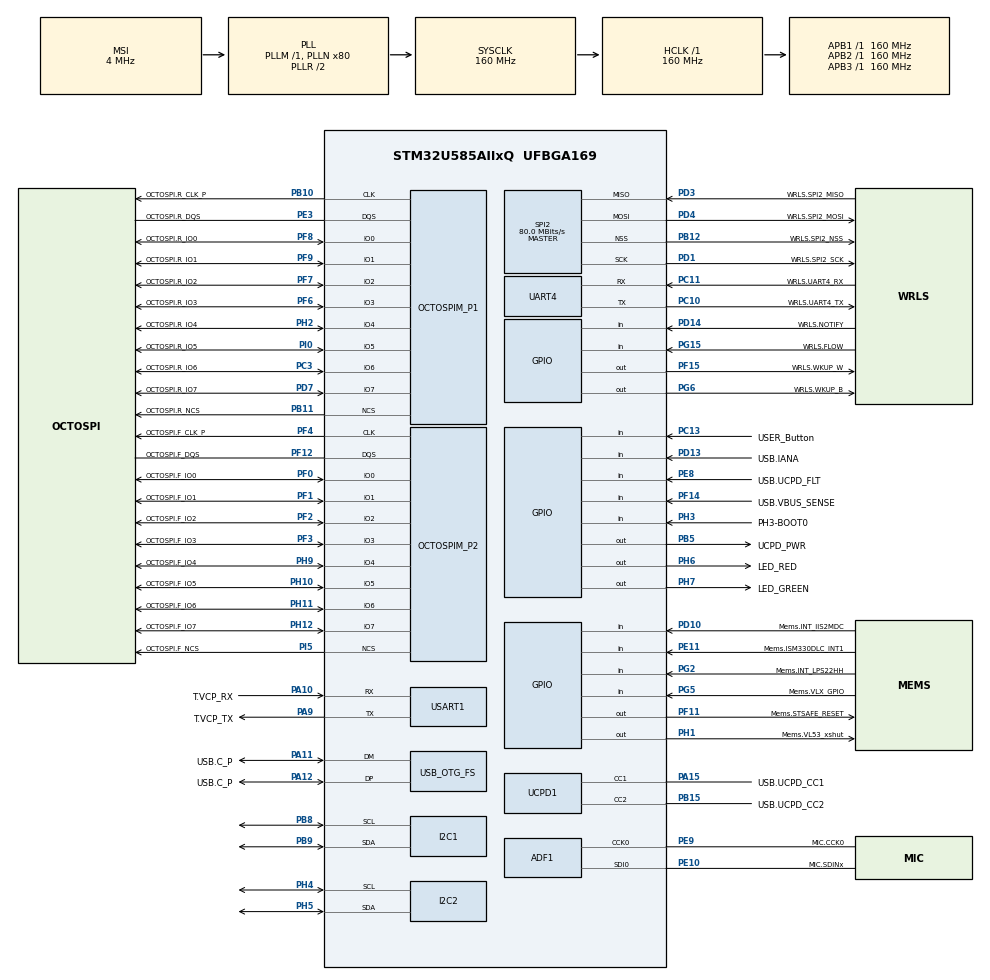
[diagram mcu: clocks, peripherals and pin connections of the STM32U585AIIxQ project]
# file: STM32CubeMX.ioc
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CORTEX_M33_NS.userName=CORTEX_M33
I2C1.Timing=0x30909DEC
I2C2.Timing=0x30909DEC
Mcu.Family=STM32U5
Mcu.Name=STM32U585AIIxQ
Mcu.Package=UFBGA169
NVIC.OTG_FS_IRQn=true\:0\:0\:false\:false\:true\:true\:true\:true
NVIC.PriorityGroup=NVIC_PRIORITYGROUP_4
NVIC.USART1_IRQn=true\:0\:0\:false\:false\:true\:true\:true\:true
OCTOSPI1.ChipSelectBoundary=10
OCTOSPI1.ClockPrescaler=2
OCTOSPI1.DelayBlockBypass=HAL_OSPI_DELAY_BLOCK_USED
OCTOSPI1.DelayHoldQuarterCycle=HAL_OSPI_DHQC_ENABLE
OCTOSPI1.DeviceSize=23
OCTOSPI1.MemoryType=HAL_OSPI_MEMTYPE_APMEMORY
OCTOSPI1.Refresh=100
OCTOSPI2.ChipSelectBoundary=0
OCTOSPI2.ChipSelectHighTime=2
OCTOSPI2.ClockPrescaler=4
OCTOSPI2.DelayBlockBypass=HAL_OSPI_DELAY_BLOCK_USED
OCTOSPI2.DelayHoldQuarterCycle=HAL_OSPI_DHQC_ENABLE
OCTOSPI2.DeviceSize=26
OCTOSPI2.FifoThreshold=4
OCTOSPI2.MemoryType=HAL_OSPI_MEMTYPE_MACRONIX
PA10.GPIO_Label=T.VCP_RX
PA10.Mode=Asynchronous
PA10.Signal=USART1_RX
PA11.GPIO_Label=USB.C_P
PA11.Mode=Device_Only
PA11.Signal=USB_OTG_FS_DM
PA12.GPIO_Label=USB.C_P
PA12.Mode=Device_Only
PA12.Signal=USB_OTG_FS_DP
PA13\ (JTMS/SWDIO).GPIO_Label=T.SWDIO
PA13\ (JTMS/SWDIO).Mode=Trace_Asynchronous_SW
PA13\ (JTMS/SWDIO).Signal=DEBUG_JTMS-SWDIO
PA14\ (JTCK/SWCLK).GPIO_Label=T.SWCLK
PA14\ (JTCK/SWCLK).Mode=Trace_Asynchronous_SW
PA14\ (JTCK/SWCLK).Signal=DEBUG_JTCK-SWCLK
PA15\ (JTDI).GPIO_Label=USB.UCPD_CC1
PA15\ (JTDI).Mode=Dual_Role_AllSignals
PA15\ (JTDI).Signal=UCPD1_CC1
PA9.GPIO_Label=T.VCP_TX
PA9.Mode=Asynchronous
PA9.Signal=USART1_TX
PB1.GPIO_Label=MIC.SDIN0
PB1.Signal=MDF1_SDI0
PB10.GPIO_Label=OCTOSPI.R_CLK_P
PB10.Mode=O1_P1_CLK
PB10.Signal=OCTOSPIM_P1_CLK
PB11.GPIO_Label=OCTOSPI.R_NCS
PB11.Mode=OCTOSPI1_Port1_NCS
PB11.Signal=OCTOSPIM_P1_NCS
PB12.GPIO_Label=WRLS.SPI2_NSS
PB12.Mode=NSS_Signal_Hard_Output
PB12.Signal=SPI2_NSS
PB15.GPIO_Label=USB.UCPD_CC2
PB15.Mode=Dual_Role_AllSignals
PB15.Signal=UCPD1_CC2
PB3\ (JTDO/TRACESWO).GPIO_Label=T.SWO
PB3\ (JTDO/TRACESWO).Mode=Trace_Asynchronous_SW
PB3\ (JTDO/TRACESWO).Signal=DEBUG_JTDO-SWO
PB5.GPIO_Label=UCPD_PWR
PB5.Signal=GPIO_Output
PB8.Mode=I2C
PB8.Signal=I2C1_SCL
PB9.Mode=I2C
PB9.Signal=I2C1_SDA
PC10.GPIO_Label=WRLS.UART4_TX
PC10.Mode=Asynchronous
PC10.Signal=UART4_TX
PC11.GPIO_Label=WRLS.UART4_RX
PC11.Mode=Asynchronous
PC11.Signal=UART4_RX
PC13.GPIO_Label=USER_Button
PC13.Signal=GPIO_Input
PC14-OSC32_IN\ (PC14).GPIO_Label=PC14-OSC32_IN
PC14-OSC32_IN\ (PC14).Mode=LSE-External-Oscillator
PC14-OSC32_IN\ (PC14).Signal=RCC_OSC32_IN
PC15-OSC32_OUT\ (PC15).GPIO_Label=PC15-OSC32_OUT
PC15-OSC32_OUT\ (PC15).Mode=LSE-External-Oscillator
PC15-OSC32_OUT\ (PC15).Signal=RCC_OSC32_OUT
PC3.GPIO_Label=OCTOSPI.R_IO6
PC3.Mode=OCTOSPI1_IOH_Port1H
PC3.Signal=OCTOSPIM_P1_IO6
PD1.GPIO_Label=WRLS.SPI2_SCK
PD1.Mode=Full_Duplex_Master
PD1.Signal=SPI2_SCK
PD10.GPIO_Label=Mems.INT_IIS2MDC
PD10.Signal=GPIO_Input
PD13.GPIO_Label=USB.IANA
PD13.Signal=GPIO_Input
PD14.GPIO_Label=WRLS.NOTIFY
PD14.Signal=GPIO_Input
PD3.GPIO_Label=WRLS.SPI2_MISO
PD3.Mode=Full_Duplex_Master
PD3.Signal=SPI2_MISO
PD4.GPIO_Label=WRLS.SPI2_MOSI
PD4.Mode=Full_Duplex_Master
PD4.Signal=SPI2_MOSI
PD7.GPIO_Label=OCTOSPI.R_IO7
PD7.Mode=OCTOSPI1_IOH_Port1H
PD7.Signal=OCTOSPIM_P1_IO7
PE10.GPIO_Label=MIC.SDINx
PE10.Mode=MOD_ADF_CCK
PE10.Signal=ADF1_SDI0
PE11.GPIO_Label=Mems.ISM330DLC_INT1
PE11.Signal=GPIO_Input
PE3.GPIO_Label=OCTOSPI.R_DQS
PE3.Mode=OCTOSPI1_Port1_DQS
PE3.Signal=OCTOSPIM_P1_DQS
PE8.GPIO_Label=USB.UCPD_FLT
PE8.Signal=GPIO_Input
PE9.GPIO_Label=MIC.CCK0
PE9.Mode=MOD_MDF_CCK0
PE9.Signal=ADF1_CCK0
PF0.GPIO_Label=OCTOSPI.F_IO0
PF0.Mode=OCTOSPI2_IOL_Port2L
PF0.Signal=OCTOSPIM_P2_IO0
PF1.GPIO_Label=OCTOSPI.F_IO1
PF1.Mode=OCTOSPI2_IOL_Port2L
PF1.Signal=OCTOSPIM_P2_IO1
PF10.GPIO_Label=MIC.CCK1
PF10.Signal=MDF1_CCK1
PF11.GPIO_Label=Mems.STSAFE_RESET
PF11.Signal=GPIO_Output
PF12.GPIO_Label=OCTOSPI.F_DQS
PF12.Mode=OCTOSPI2_Port2_DQS
PF12.Signal=OCTOSPIM_P2_DQS
PF14.GPIO_Label=USB.VBUS_SENSE
PF14.Signal=GPIO_Input
PF15.GPIO_Label=WRLS.WKUP_W
PF15.Signal=GPIO_Output
PF2.GPIO_Label=OCTOSPI.F_IO2
PF2.Mode=OCTOSPI2_IOL_Port2L
PF2.Signal=OCTOSPIM_P2_IO2
PF3.GPIO_Label=OCTOSPI.F_IO3
PF3.Mode=OCTOSPI2_IOL_Port2L
PF3.Signal=OCTOSPIM_P2_IO3
PF4.GPIO_Label=OCTOSPI.F_CLK_P
PF4.Mode=O2_P2_CLK
PF4.Signal=OCTOSPIM_P2_CLK
PF6.GPIO_Label=OCTOSPI.R_IO3
PF6.Mode=OCTOSPI1_IOL_Port1L
PF6.Signal=OCTOSPIM_P1_IO3
PF7.GPIO_Label=OCTOSPI.R_IO2
PF7.Mode=OCTOSPI1_IOL_Port1L
PF7.Signal=OCTOSPIM_P1_IO2
PF8.GPIO_Label=OCTOSPI.R_IO0
PF8.Mode=OCTOSPI1_IOL_Port1L
PF8.Signal=OCTOSPIM_P1_IO0
PF9.GPIO_Label=OCTOSPI.R_IO1
PF9.Mode=OCTOSPI1_IOL_Port1L
PF9.Signal=OCTOSPIM_P1_IO1
PG15.GPIO_Label=WRLS.FLOW
PG15.Signal=GPIO_Input
PG2.GPIO_Label=Mems.INT_LPS22HH
PG2.Signal=GPIO_Input
PG5.GPIO_Label=Mems.VLX_GPIO
PG5.Signal=GPIO_Input
PG6.GPIO_Label=WRLS.WKUP_B
PG6.Signal=GPIO_Output
PH1-OSC_OUT\ (PH1).GPIO_Label=Mems.VL53_xshut
PH1-OSC_OUT\ (PH1).Signal=GPIO_Output
PH10.GPIO_Label=OCTOSPI.F_IO5
PH10.Mode=OCTOSPI2_IOH_Port2H
PH10.Signal=OCTOSPIM_P2_IO5
PH11.GPIO_Label=OCTOSPI.F_IO6
PH11.Mode=OCTOSPI2_IOH_Port2H
PH11.Signal=OCTOSPIM_P2_IO6
PH12.GPIO_Label=OCTOSPI.F_IO7
PH12.Mode=OCTOSPI2_IOH_Port2H
PH12.Signal=OCTOSPIM_P2_IO7
PH2.GPIO_Label=OCTOSPI.R_IO4
PH2.Mode=OCTOSPI1_IOH_Port1H
PH2.Signal=OCTOSPIM_P1_IO4
PH3-BOOT0.GPIO_Label=PH3-BOOT0
PH3-BOOT0.Signal=GPIO_Input
PH4.Mode=I2C
PH4.Signal=I2C2_SCL
PH5.Mode=I2C
PH5.Signal=I2C2_SDA
PH6.GPIO_Label=LED_RED
PH6.Signal=GPIO_Output
PH7.GPIO_Label=LED_GREEN
PH7.Signal=GPIO_Output
PH9.GPIO_Label=OCTOSPI.F_IO4
PH9.Mode=OCTOSPI2_IOH_Port2H
PH9.Signal=OCTOSPIM_P2_IO4
PI0.GPIO_Label=OCTOSPI.R_IO5
PI0.Mode=OCTOSPI1_IOH_Port1H
PI0.Signal=OCTOSPIM_P1_IO5
PI5.GPIO_Label=OCTOSPI.F_NCS
PI5.Mode=OCTOSPI2_Port2_NCS
PI5.Signal=OCTOSPIM_P2_NCS
PWR.PowerMode=PWR_SMPS_SUPPLY
ProjectManager.HeapSize=0x400
ProjectManager.StackSize=0x400
ProjectManager.TargetToolchain=MDK-ARM V5.32
RCC.ADCFreq_Value=16000000
RCC.AHBFreq_Value=160000000
RCC.APB1Freq_Value=160000000
RCC.APB1TimFreq_Value=160000000
RCC.APB2Freq_Value=160000000
RCC.APB2TimFreq_Value=160000000
RCC.APB3Freq_Value=160000000
RCC.CortexFreq_Value=160000000
RCC.DACCLockSelectionVirtual=RCC_DAC1CLKSOURCE_LSI
RCC.EPOD_VALUE=4000000
RCC.HCLKFreq_Value=160000000
RCC.HSE_VALUE=16000000
RCC.HSI48_VALUE=48000000
RCC.HSI_VALUE=16000000
RCC.LSIDIV_VALUE=32000
RCC.MSI_VALUE=4000000
RCC.PLLN=80
RCC.SYSCLKFreq_VALUE=160000000
RCC.SYSCLKSource=RCC_SYSCLKSOURCE_PLLCLK
RCC.USBFreq_Value=48000000
RCC.VCOOutputFreq_Value=320000000
SPI2.CalculateBaudRate=80.0 MBits/s
SPI2.Direction=SPI_DIRECTION_2LINES
SPI2.Mode=SPI_MODE_MASTER
SPI2.VirtualNSS=VM_NSSHARD
SPI2.VirtualType=VM_MASTER
USART1.VirtualMode-Asynchronous=VM_ASYNC
USB_OTG_FS.VirtualMode=Device_Only
VP_ICACHE_VS_ICACHE.Mode=DirectMappedCache
VP_LPBAMQUEUE_VS_QUEUE.Mode=QUEUEMODE
VP_LPBAM_VS_SIG1.Mode=SmartRun
VP_LPBAM_VS_SIG4.Mode=LPDMA1
VP_OCTOSPI1_VS_octo.Mode=octo_mode
VP_OCTOSPI2_VS_octo.Mode=octo_mode
VP_PWR_VS_DBSignals.Mode=DisableDeadBatterySignals
VP_PWR_VS_LPOM.Mode=PowerOptimisation
VP_PWR_VS_SECSignals.Mode=Security/Privilege
board=B-U585I-IOT02A

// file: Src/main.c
/* USER CODE BEGIN Header */
/**
  ******************************************************************************
  * @file           : main.c
  * @brief          : Main program body
  ******************************************************************************
  * @attention
  *
  * Copyright (c) 2024 STMicroelectronics.
  * All rights reserved.
  *
  * This software is licensed under terms that can be found in the LICENSE file
  * in the root directory of this software component.
  * If no LICENSE file comes with this software, it is provided AS-IS.
  *
  ******************************************************************************
  */
/* USER CODE END Header */
#include "main.h"

/* USER CODE BEGIN Includes */
#include "cmsis_os2.h"
#include "cmsis_vio.h"
/* USER CODE END Includes */

MDF_HandleTypeDef AdfHandle0;
MDF_FilterConfigTypeDef AdfFilterConfig0;

I2C_HandleTypeDef hi2c1;
I2C_HandleTypeDef hi2c2;

OSPI_HandleTypeDef hospi1;
OSPI_HandleTypeDef hospi2;

SPI_HandleTypeDef hspi2;

UART_HandleTypeDef huart4;
UART_HandleTypeDef huart1;

PCD_HandleTypeDef hpcd_USB_OTG_FS;

void SystemClock_Config(void);
static void SystemPower_Config(void);
static void MX_GPIO_Init(void);
static void MX_ADF1_Init(void);
static void MX_I2C1_Init(void);
static void MX_I2C2_Init(void);
static void MX_ICACHE_Init(void);
static void MX_OCTOSPI1_Init(void);
static void MX_OCTOSPI2_Init(void);
static void MX_SPI2_Init(void);
static void MX_UART4_Init(void);
static void MX_USART1_UART_Init(void);
static void MX_UCPD1_Init(void);
static void MX_USB_OTG_FS_PCD_Init(void);

/* USER CODE BEGIN 0 */

/**
  * Override default HAL_GetTick function
  */
uint32_t HAL_GetTick (void) {
  static uint32_t ticks = 0U;
         uint32_t i;

  if (osKernelGetState () == osKernelRunning) {
    return ((uint32_t)osKernelGetTickCount());
  }

  /* If Kernel is not running wait approximately 1 ms then increment
     and return auxiliary tick counter value */
  for (i = (SystemCoreClock >> 14U); i > 0U; i--) {
    __NOP(); __NOP(); __NOP(); __NOP(); __NOP(); __NOP();
    __NOP(); __NOP(); __NOP(); __NOP(); __NOP(); __NOP();
  }
  return ++ticks;
}

/**
  * Override default HAL_InitTick function
  */
HAL_StatusTypeDef HAL_InitTick(uint32_t TickPriority) {

  UNUSED(TickPriority);

  return HAL_OK;
}

/* USER CODE END 0 */

int main(void)
{

  /* MCU Configuration--------------------------------------------------------*/

  /* Reset of all peripherals, Initializes the Flash interface and the Systick. */
  HAL_Init();

  /* Configure the system clock */
  SystemClock_Config();

  /* Configure the System Power */
  SystemPower_Config();

  /* USER CODE BEGIN SysInit */
  SystemCoreClockUpdate();
  /* USER CODE END SysInit */

  /* Initialize all configured peripherals */
  MX_GPIO_Init();
  MX_ADF1_Init();
  MX_I2C1_Init();
  MX_I2C2_Init();
  MX_ICACHE_Init();
  MX_OCTOSPI1_Init();
  MX_OCTOSPI2_Init();
  MX_SPI2_Init();
  MX_UART4_Init();
  MX_USART1_UART_Init();
  MX_UCPD1_Init();
  MX_USB_OTG_FS_PCD_Init();
  /* USER CODE BEGIN 2 */

  stdio_init();                                 /* Initialize STDIO */

  vioInit();                                    /* Initialize Virtual I/O */

  osKernelInitialize();                         /* Initialize CMSIS-RTOS2 */
  app_initialize();                             /* Initialize application */
  osKernelStart();                              /* Start thread execution */

  /* USER CODE END 2 */

  /* Infinite loop */
  while (1)
  {

  }
}

void SystemClock_Config(void)
{
  RCC_OscInitTypeDef RCC_OscInitStruct = {0};
  RCC_ClkInitTypeDef RCC_ClkInitStruct = {0};

  /** Configure the main internal regulator output voltage
  */
  if (HAL_PWREx_ControlVoltageScaling(PWR_REGULATOR_VOLTAGE_SCALE1) != HAL_OK)
  {
    Error_Handler();
  }

  /** Initializes the CPU, AHB and APB buses clocks
  */
  RCC_OscInitStruct.OscillatorType = RCC_OSCILLATORTYPE_HSI48|RCC_OSCILLATORTYPE_HSI
                              |RCC_OSCILLATORTYPE_MSI;
  RCC_OscInitStruct.HSIState = RCC_HSI_ON;
  RCC_OscInitStruct.HSI48State = RCC_HSI48_ON;
  RCC_OscInitStruct.HSICalibrationValue = RCC_HSICALIBRATION_DEFAULT;
  RCC_OscInitStruct.MSIState = RCC_MSI_ON;
  RCC_OscInitStruct.MSICalibrationValue = RCC_MSICALIBRATION_DEFAULT;
  RCC_OscInitStruct.MSIClockRange = RCC_MSIRANGE_4;
  RCC_OscInitStruct.PLL.PLLState = RCC_PLL_ON;
  RCC_OscInitStruct.PLL.PLLSource = RCC_PLLSOURCE_MSI;
  RCC_OscInitStruct.PLL.PLLMBOOST = RCC_PLLMBOOST_DIV1;
  RCC_OscInitStruct.PLL.PLLM = 1;
  RCC_OscInitStruct.PLL.PLLN = 80;
  RCC_OscInitStruct.PLL.PLLP = 2;
  RCC_OscInitStruct.PLL.PLLQ = 2;
  RCC_OscInitStruct.PLL.PLLR = 2;
  RCC_OscInitStruct.PLL.PLLRGE = RCC_PLLVCIRANGE_0;
  RCC_OscInitStruct.PLL.PLLFRACN = 0;
  if (HAL_RCC_OscConfig(&RCC_OscInitStruct) != HAL_OK)
  {
    Error_Handler();
  }

  /** Initializes the CPU, AHB and APB buses clocks
  */
  RCC_ClkInitStruct.ClockType = RCC_CLOCKTYPE_HCLK|RCC_CLOCKTYPE_SYSCLK
                              |RCC_CLOCKTYPE_PCLK1|RCC_CLOCKTYPE_PCLK2
                              |RCC_CLOCKTYPE_PCLK3;
  RCC_ClkInitStruct.SYSCLKSource = RCC_SYSCLKSOURCE_PLLCLK;
  RCC_ClkInitStruct.AHBCLKDivider = RCC_SYSCLK_DIV1;
  RCC_ClkInitStruct.APB1CLKDivider = RCC_HCLK_DIV1;
  RCC_ClkInitStruct.APB2CLKDivider = RCC_HCLK_DIV1;
  RCC_ClkInitStruct.APB3CLKDivider = RCC_HCLK_DIV1;

  if (HAL_RCC_ClockConfig(&RCC_ClkInitStruct, FLASH_LATENCY_4) != HAL_OK)
  {
    Error_Handler();
  }
}

/**
  * @brief Power Configuration
  * @retval None
  */
static void SystemPower_Config(void)
{
  HAL_PWREx_EnableVddIO2();

  /*
   * Switch to SMPS regulator instead of LDO
   */
  if (HAL_PWREx_ConfigSupply(PWR_SMPS_SUPPLY) != HAL_OK)
  {
    Error_Handler();
  }
}

static void MX_ADF1_Init(void)
{

  /**
    AdfHandle0 structure initialization and HAL_MDF_Init function call
  */
  AdfHandle0.Instance = ADF1_Filter0;
  AdfHandle0.Init.CommonParam.ProcClockDivider = 1;
  AdfHandle0.Init.CommonParam.OutputClock.Activation = DISABLE;
  AdfHandle0.Init.SerialInterface.Activation = ENABLE;
  AdfHandle0.Init.SerialInterface.Mode = MDF_SITF_LF_MASTER_SPI_MODE;
  AdfHandle0.Init.SerialInterface.ClockSource = MDF_SITF_CCK0_SOURCE;
  AdfHandle0.Init.SerialInterface.Threshold = 4;
  AdfHandle0.Init.FilterBistream = MDF_BITSTREAM0_FALLING;
  if (HAL_MDF_Init(&AdfHandle0) != HAL_OK)
  {
    Error_Handler();
  }

  /**
    AdfFilterConfig0 structure initialization

    WARNING : only structure is filled, no specific init function call for filter
  */
  AdfFilterConfig0.DataSource = MDF_DATA_SOURCE_BSMX;
  AdfFilterConfig0.Delay = 0;
  AdfFilterConfig0.CicMode = MDF_ONE_FILTER_SINC4;
  AdfFilterConfig0.DecimationRatio = 2;
  AdfFilterConfig0.Gain = 0;
  AdfFilterConfig0.ReshapeFilter.Activation = DISABLE;
  AdfFilterConfig0.HighPassFilter.Activation = DISABLE;
  AdfFilterConfig0.SoundActivity.Activation = DISABLE;
  AdfFilterConfig0.AcquisitionMode = MDF_MODE_ASYNC_CONT;
  AdfFilterConfig0.FifoThreshold = MDF_FIFO_THRESHOLD_NOT_EMPTY;
  AdfFilterConfig0.DiscardSamples = 0;

}

static void MX_I2C1_Init(void)
{

  hi2c1.Instance = I2C1;
  hi2c1.Init.Timing = 0x30909DEC;
  hi2c1.Init.OwnAddress1 = 0;
  hi2c1.Init.AddressingMode = I2C_ADDRESSINGMODE_7BIT;
  hi2c1.Init.DualAddressMode = I2C_DUALADDRESS_DISABLE;
  hi2c1.Init.OwnAddress2 = 0;
  hi2c1.Init.OwnAddress2Masks = I2C_OA2_NOMASK;
  hi2c1.Init.GeneralCallMode = I2C_GENERALCALL_DISABLE;
  hi2c1.Init.NoStretchMode = I2C_NOSTRETCH_DISABLE;
  if (HAL_I2C_Init(&hi2c1) != HAL_OK)
  {
    Error_Handler();
  }

  /** Configure Analogue filter
  */
  if (HAL_I2CEx_ConfigAnalogFilter(&hi2c1, I2C_ANALOGFILTER_ENABLE) != HAL_OK)
  {
    Error_Handler();
  }

  /** Configure Digital filter
  */
  if (HAL_I2CEx_ConfigDigitalFilter(&hi2c1, 0) != HAL_OK)
  {
    Error_Handler();
  }

}

static void MX_I2C2_Init(void)
{

  hi2c2.Instance = I2C2;
  hi2c2.Init.Timing = 0x30909DEC;
  hi2c2.Init.OwnAddress1 = 0;
  hi2c2.Init.AddressingMode = I2C_ADDRESSINGMODE_7BIT;
  hi2c2.Init.DualAddressMode = I2C_DUALADDRESS_DISABLE;
  hi2c2.Init.OwnAddress2 = 0;
  hi2c2.Init.OwnAddress2Masks = I2C_OA2_NOMASK;
  hi2c2.Init.GeneralCallMode = I2C_GENERALCALL_DISABLE;
  hi2c2.Init.NoStretchMode = I2C_NOSTRETCH_DISABLE;
  if (HAL_I2C_Init(&hi2c2) != HAL_OK)
  {
    Error_Handler();
  }

  /** Configure Analogue filter
  */
  if (HAL_I2CEx_ConfigAnalogFilter(&hi2c2, I2C_ANALOGFILTER_ENABLE) != HAL_OK)
  {
    Error_Handler();
  }

  /** Configure Digital filter
  */
  if (HAL_I2CEx_ConfigDigitalFilter(&hi2c2, 0) != HAL_OK)
  {
    Error_Handler();
  }

}

static void MX_ICACHE_Init(void)
{

  /** Enable instruction cache in 1-way (direct mapped cache)
  */
  if (HAL_ICACHE_ConfigAssociativityMode(ICACHE_1WAY) != HAL_OK)
  {
    Error_Handler();
  }
  if (HAL_ICACHE_Enable() != HAL_OK)
  {
    Error_Handler();
  }

}

static void MX_OCTOSPI1_Init(void)
{

  OSPIM_CfgTypeDef sOspiManagerCfg = {0};
  HAL_OSPI_DLYB_CfgTypeDef HAL_OSPI_DLYB_Cfg_Struct = {0};

  /* OCTOSPI1 parameter configuration*/
  hospi1.Instance = OCTOSPI1;
  hospi1.Init.FifoThreshold = 1;
  hospi1.Init.DualQuad = HAL_OSPI_DUALQUAD_DISABLE;
  hospi1.Init.MemoryType = HAL_OSPI_MEMTYPE_APMEMORY;
  hospi1.Init.DeviceSize = 23;
  hospi1.Init.ChipSelectHighTime = 1;
  hospi1.Init.FreeRunningClock = HAL_OSPI_FREERUNCLK_DISABLE;
  hospi1.Init.ClockMode = HAL_OSPI_CLOCK_MODE_0;
  hospi1.Init.WrapSize = HAL_OSPI_WRAP_NOT_SUPPORTED;
  hospi1.Init.ClockPrescaler = 2;
  hospi1.Init.SampleShifting = HAL_OSPI_SAMPLE_SHIFTING_NONE;
  hospi1.Init.DelayHoldQuarterCycle = HAL_OSPI_DHQC_ENABLE;
  hospi1.Init.ChipSelectBoundary = 10;
  hospi1.Init.DelayBlockBypass = HAL_OSPI_DELAY_BLOCK_USED;
  hospi1.Init.MaxTran = 0;
  hospi1.Init.Refresh = 100;
  if (HAL_OSPI_Init(&hospi1) != HAL_OK)
  {
    Error_Handler();
  }
  sOspiManagerCfg.ClkPort = 1;
  sOspiManagerCfg.DQSPort = 1;
  sOspiManagerCfg.NCSPort = 1;
  sOspiManagerCfg.IOLowPort = HAL_OSPIM_IOPORT_1_LOW;
  sOspiManagerCfg.IOHighPort = HAL_OSPIM_IOPORT_1_HIGH;
  if (HAL_OSPIM_Config(&hospi1, &sOspiManagerCfg, HAL_OSPI_TIMEOUT_DEFAULT_VALUE) != HAL_OK)
  {
    Error_Handler();
  }
  HAL_OSPI_DLYB_Cfg_Struct.Units = 0;
  HAL_OSPI_DLYB_Cfg_Struct.PhaseSel = 0;
  if (HAL_OSPI_DLYB_SetConfig(&hospi1, &HAL_OSPI_DLYB_Cfg_Struct) != HAL_OK)
  {
    Error_Handler();
  }

}

static void MX_OCTOSPI2_Init(void)
{

  OSPIM_CfgTypeDef sOspiManagerCfg = {0};
  HAL_OSPI_DLYB_CfgTypeDef HAL_OSPI_DLYB_Cfg_Struct = {0};

  /* OCTOSPI2 parameter configuration*/
  hospi2.Instance = OCTOSPI2;
  hospi2.Init.FifoThreshold = 4;
  hospi2.Init.DualQuad = HAL_OSPI_DUALQUAD_DISABLE;
  hospi2.Init.MemoryType = HAL_OSPI_MEMTYPE_MACRONIX;
  hospi2.Init.DeviceSize = 26;
  hospi2.Init.ChipSelectHighTime = 2;
  hospi2.Init.FreeRunningClock = HAL_OSPI_FREERUNCLK_DISABLE;
  hospi2.Init.ClockMode = HAL_OSPI_CLOCK_MODE_0;
  hospi2.Init.WrapSize = HAL_OSPI_WRAP_NOT_SUPPORTED;
  hospi2.Init.ClockPrescaler = 4;
  hospi2.Init.SampleShifting = HAL_OSPI_SAMPLE_SHIFTING_NONE;
  hospi2.Init.DelayHoldQuarterCycle = HAL_OSPI_DHQC_ENABLE;
  hospi2.Init.ChipSelectBoundary = 0;
  hospi2.Init.DelayBlockBypass = HAL_OSPI_DELAY_BLOCK_USED;
  hospi2.Init.MaxTran = 0;
  hospi2.Init.Refresh = 0;
  if (HAL_OSPI_Init(&hospi2) != HAL_OK)
  {
    Error_Handler();
  }
  sOspiManagerCfg.ClkPort = 2;
  sOspiManagerCfg.DQSPort = 2;
  sOspiManagerCfg.NCSPort = 2;
  sOspiManagerCfg.IOLowPort = HAL_OSPIM_IOPORT_2_LOW;
  sOspiManagerCfg.IOHighPort = HAL_OSPIM_IOPORT_2_HIGH;
  if (HAL_OSPIM_Config(&hospi2, &sOspiManagerCfg, HAL_OSPI_TIMEOUT_DEFAULT_VALUE) != HAL_OK)
  {
    Error_Handler();
  }
  HAL_OSPI_DLYB_Cfg_Struct.Units = 0;
  HAL_OSPI_DLYB_Cfg_Struct.PhaseSel = 0;
  if (HAL_OSPI_DLYB_SetConfig(&hospi2, &HAL_OSPI_DLYB_Cfg_Struct) != HAL_OK)
  {
    Error_Handler();
  }

}

static void MX_SPI2_Init(void)
{

  SPI_AutonomousModeConfTypeDef HAL_SPI_AutonomousMode_Cfg_Struct = {0};

  /* SPI2 parameter configuration*/
  hspi2.Instance = SPI2;
  hspi2.Init.Mode = SPI_MODE_MASTER;
  hspi2.Init.Direction = SPI_DIRECTION_2LINES;
  hspi2.Init.DataSize = SPI_DATASIZE_4BIT;
  hspi2.Init.CLKPolarity = SPI_POLARITY_LOW;
  hspi2.Init.CLKPhase = SPI_PHASE_1EDGE;
  hspi2.Init.NSS = SPI_NSS_HARD_OUTPUT;
  hspi2.Init.BaudRatePrescaler = SPI_BAUDRATEPRESCALER_2;
  hspi2.Init.FirstBit = SPI_FIRSTBIT_MSB;
  hspi2.Init.TIMode = SPI_TIMODE_DISABLE;
  hspi2.Init.CRCCalculation = SPI_CRCCALCULATION_DISABLE;
  hspi2.Init.CRCPolynomial = 0x7;
  hspi2.Init.NSSPMode = SPI_NSS_PULSE_ENABLE;
  hspi2.Init.NSSPolarity = SPI_NSS_POLARITY_LOW;
  hspi2.Init.FifoThreshold = SPI_FIFO_THRESHOLD_01DATA;
  hspi2.Init.MasterSSIdleness = SPI_MASTER_SS_IDLENESS_00CYCLE;
  hspi2.Init.MasterInterDataIdleness = SPI_MASTER_INTERDATA_IDLENESS_00CYCLE;
  hspi2.Init.MasterReceiverAutoSusp = SPI_MASTER_RX_AUTOSUSP_DISABLE;
  hspi2.Init.MasterKeepIOState = SPI_MASTER_KEEP_IO_STATE_DISABLE;
  hspi2.Init.IOSwap = SPI_IO_SWAP_DISABLE;
  hspi2.Init.ReadyMasterManagement = SPI_RDY_MASTER_MANAGEMENT_INTERNALLY;
  hspi2.Init.ReadyPolarity = SPI_RDY_POLARITY_HIGH;
  if (HAL_SPI_Init(&hspi2) != HAL_OK)
  {
    Error_Handler();
  }
  HAL_SPI_AutonomousMode_Cfg_Struct.TriggerState = SPI_AUTO_MODE_DISABLE;
  HAL_SPI_AutonomousMode_Cfg_Struct.TriggerSelection = SPI_GRP1_GPDMA_CH0_TCF_TRG;
  HAL_SPI_AutonomousMode_Cfg_Struct.TriggerPolarity = SPI_TRIG_POLARITY_RISING;
  if (HAL_SPIEx_SetConfigAutonomousMode(&hspi2, &HAL_SPI_AutonomousMode_Cfg_Struct) != HAL_OK)
  {
    Error_Handler();
  }

}

static void MX_UART4_Init(void)
{

  huart4.Instance = UART4;
  huart4.Init.BaudRate = 115200;
  huart4.Init.WordLength = UART_WORDLENGTH_8B;
  huart4.Init.StopBits = UART_STOPBITS_1;
  huart4.Init.Parity = UART_PARITY_NONE;
  huart4.Init.Mode = UART_MODE_TX_RX;
  huart4.Init.HwFlowCtl = UART_HWCONTROL_NONE;
  huart4.Init.OverSampling = UART_OVERSAMPLING_16;
  huart4.Init.OneBitSampling = UART_ONE_BIT_SAMPLE_DISABLE;
  huart4.Init.ClockPrescaler = UART_PRESCALER_DIV1;
  huart4.AdvancedInit.AdvFeatureInit = UART_ADVFEATURE_NO_INIT;
  if (HAL_UART_Init(&huart4) != HAL_OK)
  {
    Error_Handler();
  }
  if (HAL_UARTEx_SetTxFifoThreshold(&huart4, UART_TXFIFO_THRESHOLD_1_8) != HAL_OK)
  {
    Error_Handler();
  }
  if (HAL_UARTEx_SetRxFifoThreshold(&huart4, UART_RXFIFO_THRESHOLD_1_8) != HAL_OK)
  {
    Error_Handler();
  }
  if (HAL_UARTEx_DisableFifoMode(&huart4) != HAL_OK)
  {
    Error_Handler();
  }

}

static void MX_USART1_UART_Init(void)
{

  huart1.Instance = USART1;
  huart1.Init.BaudRate = 115200;
  huart1.Init.WordLength = UART_WORDLENGTH_8B;
  huart1.Init.StopBits = UART_STOPBITS_1;
  huart1.Init.Parity = UART_PARITY_NONE;
  huart1.Init.Mode = UART_MODE_TX_RX;
  huart1.Init.HwFlowCtl = UART_HWCONTROL_NONE;
  huart1.Init.OverSampling = UART_OVERSAMPLING_16;
  huart1.Init.OneBitSampling = UART_ONE_BIT_SAMPLE_DISABLE;
  huart1.Init.ClockPrescaler = UART_PRESCALER_DIV1;
  huart1.AdvancedInit.AdvFeatureInit = UART_ADVFEATURE_NO_INIT;
  if (HAL_UART_Init(&huart1) != HAL_OK)
  {
    Error_Handler();
  }
  if (HAL_UARTEx_SetTxFifoThreshold(&huart1, UART_TXFIFO_THRESHOLD_1_8) != HAL_OK)
  {
    Error_Handler();
  }
  if (HAL_UARTEx_SetRxFifoThreshold(&huart1, UART_RXFIFO_THRESHOLD_1_8) != HAL_OK)
  {
    Error_Handler();
  }
  if (HAL_UARTEx_DisableFifoMode(&huart1) != HAL_OK)
  {
    Error_Handler();
  }

}

static void MX_UCPD1_Init(void)
{

  LL_GPIO_InitTypeDef GPIO_InitStruct = {0};

  /* Peripheral clock enable */
  LL_APB1_GRP2_EnableClock(LL_APB1_GRP2_PERIPH_UCPD1);

  LL_AHB2_GRP1_EnableClock(LL_AHB2_GRP1_PERIPH_GPIOA);
  LL_AHB2_GRP1_EnableClock(LL_AHB2_GRP1_PERIPH_GPIOB);
  /**UCPD1 GPIO Configuration
  PA15 (JTDI)   ------> UCPD1_CC1
  PB15   ------> UCPD1_CC2
  */
  GPIO_InitStruct.Pin = LL_GPIO_PIN_15;
  GPIO_InitStruct.Mode = LL_GPIO_MODE_ANALOG;
  GPIO_InitStruct.Pull = LL_GPIO_PULL_NO;
  LL_GPIO_Init(GPIOA, &GPIO_InitStruct);

  GPIO_InitStruct.Pin = LL_GPIO_PIN_15;
  GPIO_InitStruct.Mode = LL_GPIO_MODE_ANALOG;
  GPIO_InitStruct.Pull = LL_GPIO_PULL_NO;
  LL_GPIO_Init(GPIOB, &GPIO_InitStruct);

}

static void MX_USB_OTG_FS_PCD_Init(void)
{

  hpcd_USB_OTG_FS.Instance = USB_OTG_FS;
  hpcd_USB_OTG_FS.Init.dev_endpoints = 6;
  hpcd_USB_OTG_FS.Init.speed = PCD_SPEED_FULL;
  hpcd_USB_OTG_FS.Init.phy_itface = PCD_PHY_EMBEDDED;
  hpcd_USB_OTG_FS.Init.Sof_enable = DISABLE;
  hpcd_USB_OTG_FS.Init.low_power_enable = DISABLE;
  hpcd_USB_OTG_FS.Init.lpm_enable = DISABLE;
  hpcd_USB_OTG_FS.Init.battery_charging_enable = DISABLE;
  hpcd_USB_OTG_FS.Init.use_dedicated_ep1 = DISABLE;
  hpcd_USB_OTG_FS.Init.vbus_sensing_enable = DISABLE;
  hpcd_USB_OTG_FS.Init.dma_enable = DISABLE;
  if (HAL_PCD_Init(&hpcd_USB_OTG_FS) != HAL_OK)
  {
    Error_Handler();
  }

}

static void MX_GPIO_Init(void)
{
  GPIO_InitTypeDef GPIO_InitStruct = {0};

  /* GPIO Ports Clock Enable */
  __HAL_RCC_GPIOG_CLK_ENABLE();
  __HAL_RCC_GPIOC_CLK_ENABLE();
  __HAL_RCC_GPIOA_CLK_ENABLE();
  __HAL_RCC_GPIOI_CLK_ENABLE();
  __HAL_RCC_GPIOH_CLK_ENABLE();
  __HAL_RCC_GPIOB_CLK_ENABLE();
  __HAL_RCC_GPIOD_CLK_ENABLE();
  __HAL_RCC_GPIOE_CLK_ENABLE();
  __HAL_RCC_GPIOF_CLK_ENABLE();

  /*Configure GPIO pin Output Level */
  HAL_GPIO_WritePin(UCPD_PWR_GPIO_Port, UCPD_PWR_Pin, GPIO_PIN_RESET);

  /*Configure GPIO pin Output Level */
  HAL_GPIO_WritePin(GPIOH, LED_RED_Pin|LED_GREEN_Pin|Mems_VL53_xshut_Pin, GPIO_PIN_RESET);

  /*Configure GPIO pin Output Level */
  HAL_GPIO_WritePin(WRLS_WKUP_B_GPIO_Port, WRLS_WKUP_B_Pin, GPIO_PIN_RESET);

  /*Configure GPIO pin Output Level */
  HAL_GPIO_WritePin(GPIOF, Mems_STSAFE_RESET_Pin|WRLS_WKUP_W_Pin, GPIO_PIN_RESET);

  /*Configure GPIO pins : WRLS_FLOW_Pin Mems_VLX_GPIO_Pin Mems_INT_LPS22HH_Pin */
  GPIO_InitStruct.Pin = WRLS_FLOW_Pin|Mems_VLX_GPIO_Pin|Mems_INT_LPS22HH_Pin;
  GPIO_InitStruct.Mode = GPIO_MODE_INPUT;
  GPIO_InitStruct.Pull = GPIO_NOPULL;
  HAL_GPIO_Init(GPIOG, &GPIO_InitStruct);

  /*Configure GPIO pin : PH3_BOOT0_Pin */
  GPIO_InitStruct.Pin = PH3_BOOT0_Pin;
  GPIO_InitStruct.Mode = GPIO_MODE_INPUT;
  GPIO_InitStruct.Pull = GPIO_NOPULL;
  HAL_GPIO_Init(PH3_BOOT0_GPIO_Port, &GPIO_InitStruct);

  /*Configure GPIO pin : UCPD_PWR_Pin */
  GPIO_InitStruct.Pin = UCPD_PWR_Pin;
  GPIO_InitStruct.Mode = GPIO_MODE_OUTPUT_PP;
  GPIO_InitStruct.Pull = GPIO_NOPULL;
  GPIO_InitStruct.Speed = GPIO_SPEED_FREQ_LOW;
  HAL_GPIO_Init(UCPD_PWR_GPIO_Port, &GPIO_InitStruct);

  /*Configure GPIO pin : USER_Button_Pin */
  GPIO_InitStruct.Pin = USER_Button_Pin;
  GPIO_InitStruct.Mode = GPIO_MODE_INPUT;
  GPIO_InitStruct.Pull = GPIO_NOPULL;
  HAL_GPIO_Init(USER_Button_GPIO_Port, &GPIO_InitStruct);

  /*Configure GPIO pins : LED_RED_Pin LED_GREEN_Pin Mems_VL53_xshut_Pin */
  GPIO_InitStruct.Pin = LED_RED_Pin|LED_GREEN_Pin|Mems_VL53_xshut_Pin;
  GPIO_InitStruct.Mode = GPIO_MODE_OUTPUT_PP;
  GPIO_InitStruct.Pull = GPIO_NOPULL;
  GPIO_InitStruct.Speed = GPIO_SPEED_FREQ_LOW;
  HAL_GPIO_Init(GPIOH, &GPIO_InitStruct);

  /*Configure GPIO pin : MIC_CCK1_Pin */
  GPIO_InitStruct.Pin = MIC_CCK1_Pin;
  GPIO_InitStruct.Mode = GPIO_MODE_AF_PP;
  GPIO_InitStruct.Pull = GPIO_NOPULL;
  GPIO_InitStruct.Speed = GPIO_SPEED_FREQ_LOW;
  GPIO_InitStruct.Alternate = GPIO_AF6_MDF1;
  HAL_GPIO_Init(MIC_CCK1_GPIO_Port, &GPIO_InitStruct);

  /*Configure GPIO pin : WRLS_WKUP_B_Pin */
  GPIO_InitStruct.Pin = WRLS_WKUP_B_Pin;
  GPIO_InitStruct.Mode = GPIO_MODE_OUTPUT_PP;
  GPIO_InitStruct.Pull = GPIO_NOPULL;
  GPIO_InitStruct.Speed = GPIO_SPEED_FREQ_LOW;
  HAL_GPIO_Init(WRLS_WKUP_B_GPIO_Port, &GPIO_InitStruct);

  /*Configure GPIO pins : WRLS_NOTIFY_Pin Mems_INT_IIS2MDC_Pin USB_IANA_Pin */
  GPIO_InitStruct.Pin = WRLS_NOTIFY_Pin|Mems_INT_IIS2MDC_Pin|USB_IANA_Pin;
  GPIO_InitStruct.Mode = GPIO_MODE_INPUT;
  GPIO_InitStruct.Pull = GPIO_NOPULL;
  HAL_GPIO_Init(GPIOD, &GPIO_InitStruct);

  /*Configure GPIO pins : USB_UCPD_FLT_Pin Mems_ISM330DLC_INT1_Pin */
  GPIO_InitStruct.Pin = USB_UCPD_FLT_Pin|Mems_ISM330DLC_INT1_Pin;
  GPIO_InitStruct.Mode = GPIO_MODE_INPUT;
  GPIO_InitStruct.Pull = GPIO_NOPULL;
  HAL_GPIO_Init(GPIOE, &GPIO_InitStruct);

  /*Configure GPIO pin : USB_VBUS_SENSE_Pin */
  GPIO_InitStruct.Pin = USB_VBUS_SENSE_Pin;
  GPIO_InitStruct.Mode = GPIO_MODE_INPUT;
  GPIO_InitStruct.Pull = GPIO_NOPULL;
  HAL_GPIO_Init(USB_VBUS_SENSE_GPIO_Port, &GPIO_InitStruct);

  /*Configure GPIO pins : Mems_STSAFE_RESET_Pin WRLS_WKUP_W_Pin */
  GPIO_InitStruct.Pin = Mems_STSAFE_RESET_Pin|WRLS_WKUP_W_Pin;
  GPIO_InitStruct.Mode = GPIO_MODE_OUTPUT_PP;
  GPIO_InitStruct.Pull = GPIO_NOPULL;
  GPIO_InitStruct.Speed = GPIO_SPEED_FREQ_LOW;
  HAL_GPIO_Init(GPIOF, &GPIO_InitStruct);

  /*Configure GPIO pin : MIC_SDIN0_Pin */
  GPIO_InitStruct.Pin = MIC_SDIN0_Pin;
  GPIO_InitStruct.Mode = GPIO_MODE_AF_PP;
  GPIO_InitStruct.Pull = GPIO_NOPULL;
  GPIO_InitStruct.Speed = GPIO_SPEED_FREQ_LOW;
  GPIO_InitStruct.Alternate = GPIO_AF6_MDF1;
  HAL_GPIO_Init(MIC_SDIN0_GPIO_Port, &GPIO_InitStruct);

}

void Error_Handler(void)
{
  __disable_irq();
  while (1)
  {
  }
}
